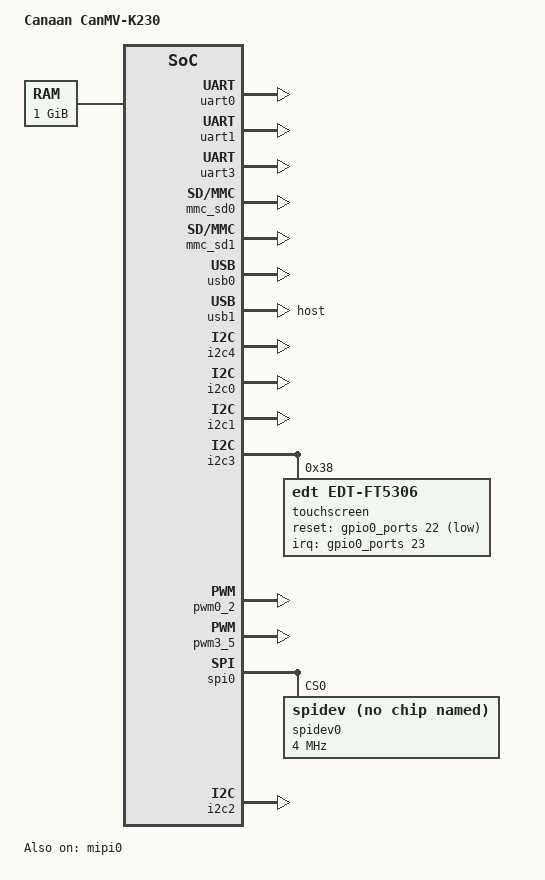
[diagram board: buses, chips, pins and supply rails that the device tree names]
// SPDX-License-Identifier: GPL-2.0 OR MIT
/*
 * Copyright (C) 2024 Yangyu Chen <cyy@cyyself.name>
 */

#include "k230.dtsi"
#include "display-st7701-480x800.dtsi"
#include <dt-bindings/input/input.h>

/
{
	model = "Canaan CanMV-K230";
	compatible = "canaan,canmv-k230", "canaan,kendryte-k230","k230_canmv_01studio";

	aliases {
		serial3 = &uart3;
		i2c0 = &i2c0;
		i2c1 = &i2c1;
		i2c3 = &i2c3;
		i2c4 = &i2c4;
		mmc0 = &mmc_sd0;
		mmc1 = &mmc_sd1;
		spi0 = &spi0;
	};

	chosen {
		stdout-path = "serial0:115200n8";
	};

	ddr: memory@0 {
		device_type = "memory";
		reg = <0x0 0x0 0x0 0x40000000>;
	};

	sound {
		status                      = "okay";
		compatible                  = "canaan,k230-audio-inno";
		canaan,model                = "K230_I2S_INNO";
		canaan,k230-i2s-controller  = <&i2s>;
		canaan,k230-audio-codec     = <&inno_codec>;
	};

	// User button (GPIO21)
	btn {
		compatible = "gpio-keys";
		pinctrl-names = "default";
		pinctrl-0 = <&gpio21_pins>;
		status = "disabled";

		btn0: btn0 {
			label = "btn";
			linux,code = <KEY_VOLUMEUP>;
			gpios = <&gpio0_ports 21 GPIO_ACTIVE_LOW>;
		};
	};

	// User LED (GPIO52)
	led {
		compatible = "gpio-leds";
		pinctrl-names = "default";
		pinctrl-0 = <&gpio52_pins>;
		status = "disabled";

		led0: led0 {
			label = "led";
			gpios = <&gpio1_ports 20 GPIO_ACTIVE_HIGH>;
		};
	};
};

&uart0 {
	status = "okay";
};
&uart1 {
	status = "okay";
};
&uart3 {
	status = "okay";
};
&mmc_sd0{
	status = "okay";
	no-1-8-v;
	cap-sd-highspeed;
	rx_delay_line = <0x0d>;
	tx_delay_line = <0xb0>;
	clocks = <&sd0_cclk_gate>,<&sd0_cclk_gate>;
	clock-names = "core", "bus";
};
&mmc_sd1{
	status = "okay";
	no-1-8-v;
	cap-sd-highspeed;
	mshc_ctrl_r = <0x00>;
};
&usb0 {
	status = "okay";
};
&usb1 {
	dr_mode = "host";
	status = "okay";
};


&i2c4
{
	status = "okay";
};



&vo {
	vth_line = <10>;
};
&i2c0 {
	status = "okay";
};

&i2c1 {
	status = "okay";
};

/* CSI2 default single-cam; CSI0/CSI1 prewritten disabled.
 *   slot0 / mipi.0 = physical CSI2 (ON)
 *   slot1 / mipi.1 = physical CSI0 (disabled; set status="okay" to enable)
 *   slot2 / mipi.2 = physical CSI1 (disabled; set status="okay" to enable)
 * Sensor count = continuous (devN-sensor-name AND mipi.N okay).
 * Enable corresponding &i2cX when enabling a slot.
 */
&mipi0 {
	/* CSI2 -> logical slot0 */
	id = <2>;
	reg = <0x0 0x9000a800 0x0 0x800>;
	interrupts = <121 IRQ_TYPE_LEVEL_HIGH>;
	resets = <&sysctl_reset K230_RESET_CSI2_REG_OFFSET K230_RESET_CSI2_TYPE
			  K230_RESET_CSI2_DONE_BIT K230_RESET_CSI2_ASSERT_BIT>,
		 <&sysctl_reset K230_RESET_M2_REG_OFFSET K230_RESET_M2_TYPE
			  K230_RESET_M2_DONE_BIT K230_RESET_M2_ASSERT_BIT>;
	reset-gpios = <&gpio0_ports 9 GPIO_ACTIVE_HIGH>;
	status = "okay";
};

&mipi1 {
	/* CSI0 -> logical slot1; disabled by default */
	id = <0>;
	reg = <0x0 0x90009800 0x0 0x800>;
	interrupts = <115 IRQ_TYPE_LEVEL_HIGH>;
	resets = <&sysctl_reset K230_RESET_CSI0_REG_OFFSET K230_RESET_CSI0_TYPE
			  K230_RESET_CSI0_DONE_BIT K230_RESET_CSI0_ASSERT_BIT>,
		 <&sysctl_reset K230_RESET_M0_REG_OFFSET K230_RESET_M0_TYPE
			  K230_RESET_M0_DONE_BIT K230_RESET_M0_ASSERT_BIT>;
	reset-gpios = <&gpio1_ports 30 GPIO_ACTIVE_HIGH>;
	status = "disabled";
};

&mipi2 {
	/* CSI1 -> logical slot2; disabled by default */
	id = <1>;
	reg = <0x0 0x9000a000 0x0 0x800>;
	interrupts = <118 IRQ_TYPE_LEVEL_HIGH>;
	resets = <&sysctl_reset K230_RESET_CSI1_REG_OFFSET K230_RESET_CSI1_TYPE
			  K230_RESET_CSI1_DONE_BIT K230_RESET_CSI1_ASSERT_BIT>,
		 <&sysctl_reset K230_RESET_M1_REG_OFFSET K230_RESET_M1_TYPE
			  K230_RESET_M1_DONE_BIT K230_RESET_M1_ASSERT_BIT>;
	reset-gpios = <&gpio1_ports 12 GPIO_ACTIVE_HIGH>;
	status = "disabled";
};

&v4l2isp {
	/*
	 * Pre-write three sensors; only enabled mipi.N slots count.
	 * With mipi1/mipi2 disabled: 1 cam / 3 video nodes.
	 */
	dev0-sensor-name = "gc2093";
	dev0-sensor-mode = <0>;
	dev0-sensor-i2c-bus = <4>; /* CSI2 */
	dev1-sensor-name = "gc2093";
	dev1-sensor-mode = <0>;
	dev1-sensor-i2c-bus = <0>; /* CSI0 */
	dev2-sensor-name = "gc2093";
	dev2-sensor-mode = <0>;
	dev2-sensor-i2c-bus = <1>; /* CSI1 */
};
&i2c3
{
	status = "okay";

	touchscreen@38
	{
		compatible = "edt,edt-ft5306";
		reg = <0x38>;
		reset-gpios = <&gpio0_ports 22 GPIO_ACTIVE_LOW>;
		interrupt-parent = <&gpio0_ports>;
		interrupts = <23 IRQ_TYPE_EDGE_FALLING>;
		touchscreen-size-x = <480>;
		touchscreen-size-y = <800>;
	};
};

&lcd
{
	// dsi_reset-gpios = <&gpio0_ports 24 GPIO_ACTIVE_HIGH>;
	// backlight_gpio-gpios = <&gpio0_ports 25 GPIO_ACTIVE_HIGH>;
};

&iomux {
	pwm2_pins: pwm2_pins {
        pins = K230_IO46; //io46
        function = K230_IO46_PWM2;  // alt2
    };
	pwm3_pins: pwm3_pins {
		pins = K230_IO47; //io47
		function = K230_IO47_PWM3;
	};
	gpio21_pins: gpio21_pins {
		pins = K230_IO21;
		function = "alt0";
	};
	gpio52_pins: gpio52_pins {
		pins = K230_IO52;
		function = "alt0";
	};
	ospi_pins: ospi_pins {
		pin_clk_mo_mi{
			pins = K230_IO15,K230_IO16,K230_IO17;
        	function = "alt1";
		};
		pin_cs{
			pins = K230_IO14;
        	function = "alt1";
			bias-pull-up;
		};
    };
	i2c2_pins: i2c2_pins {
        pins = K230_IO11,K230_IO12;
        function = "alt3";
		bias-pull-up;
    };
};
&pwm0_2{
	status = "okay";
	pinctrl-names = "default";
    pinctrl-0 = <&pwm2_pins>;
};
&pwm3_5{
	status = "okay";
	pinctrl-names = "default";
	pinctrl-0 = <&pwm3_pins>;
};
&spi0
{
	status = "okay";
	pinctrl-names = "default";
    pinctrl-0 = <&ospi_pins>;

	spidev0: spidev@0 {
		compatible = "rohm,dh2228fv";
		reg = <0>;
		spi-max-frequency = <4000000>;
		status = "okay";
    };
};

&i2c2{
	status = "okay";
	pinctrl-names = "default";
    pinctrl-0 = <&i2c2_pins>;
};
